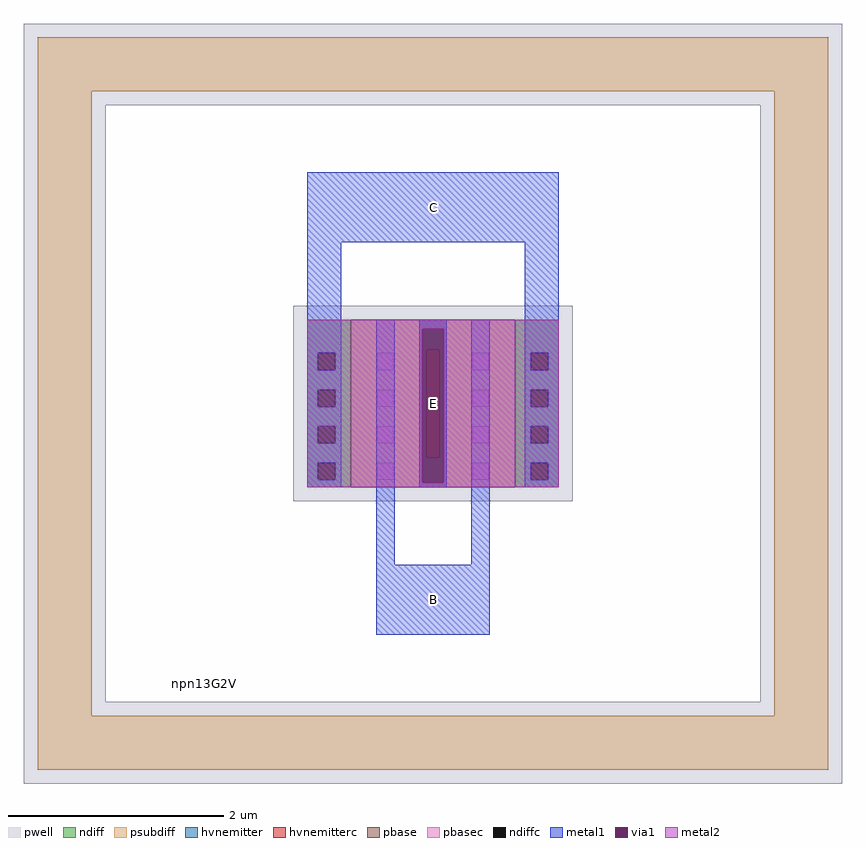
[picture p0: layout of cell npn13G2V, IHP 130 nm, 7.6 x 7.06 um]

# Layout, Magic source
magic
tech ihp-sg13g2
magscale 1 2
<< pwell >>
rect 14 1274 1534 1426
rect 14 166 166 1274
rect 514 876 1034 902
rect 514 564 621 876
rect 927 564 1034 876
rect 514 538 1034 564
rect 1382 166 1534 1274
rect 14 14 1534 166
<< pbase >>
rect 621 564 927 876
<< ndiff >>
rect 540 814 621 876
rect 540 782 560 814
rect 592 782 621 814
rect 540 746 621 782
rect 540 714 560 746
rect 592 714 621 746
rect 540 678 621 714
rect 540 646 560 678
rect 592 646 621 678
rect 540 610 621 646
rect 927 814 1008 876
rect 927 782 956 814
rect 988 782 1008 814
rect 927 746 1008 782
rect 927 714 956 746
rect 988 714 1008 746
rect 927 678 1008 714
rect 927 646 956 678
rect 988 646 1008 678
rect 540 578 560 610
rect 592 578 621 610
rect 540 564 621 578
rect 927 610 1008 646
rect 927 578 956 610
rect 988 578 1008 610
rect 927 564 1008 578
<< pbasec >>
rect 670 782 702 814
rect 670 714 702 746
rect 670 646 702 678
rect 846 782 878 814
rect 846 714 878 746
rect 846 646 878 678
rect 670 578 702 610
rect 846 578 878 610
<< hvnemitter >>
rect 748 820 800 876
rect 748 620 762 820
rect 786 620 800 820
rect 748 564 800 620
<< hvnemitterc >>
rect 762 620 786 820
<< ndiffc >>
rect 560 782 592 814
rect 560 714 592 746
rect 560 646 592 678
rect 956 782 988 814
rect 956 714 988 746
rect 956 646 988 678
rect 560 578 592 610
rect 956 578 988 610
<< psubdiff >>
rect 40 1300 1508 1400
rect 40 140 140 1300
rect 1408 140 1508 1300
rect 40 40 1508 140
<< metal1 >>
rect 540 1020 1008 1150
rect 540 814 604 1020
rect 540 782 560 814
rect 592 782 604 814
rect 540 746 604 782
rect 540 714 560 746
rect 592 714 604 746
rect 540 678 604 714
rect 540 646 560 678
rect 592 646 604 678
rect 540 610 604 646
rect 540 578 560 610
rect 592 578 604 610
rect 540 564 604 578
rect 669 420 703 876
rect 748 859 800 876
rect 748 573 754 859
rect 794 573 800 859
rect 748 564 800 573
rect 845 420 879 876
rect 944 814 1008 1020
rect 944 782 956 814
rect 988 782 1008 814
rect 944 746 1008 782
rect 944 714 956 746
rect 988 714 1008 746
rect 944 678 1008 714
rect 944 646 956 678
rect 988 646 1008 678
rect 944 610 1008 646
rect 944 578 956 610
rect 988 578 1008 610
rect 944 564 1008 578
rect 669 290 879 420
<< via1 >>
rect 754 820 794 859
rect 754 620 762 820
rect 762 620 786 820
rect 786 620 794 820
rect 754 573 794 620
<< metal2 >>
rect 540 859 1008 876
rect 540 573 754 859
rect 794 573 1008 859
rect 540 564 1008 573
<< labels >>
flabel comment s 774 720 774 720 0 FreeSans 1560 0 0 0 E
flabel comment s 774 355 774 355 0 FreeSans 650 0 0 0 B
flabel comment s 774 1085 774 1085 0 FreeSans 650 0 0 0 C
flabel comment s 350 200 350 200 2 FreeSans 700 0 0 0 npn13G2V
flabel comment s 300 200 300 200 2 FreeSans 700 90 0 0 Ae=1*1.00*0.12
<< end >>
